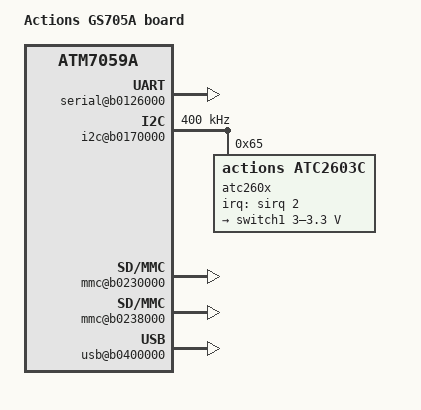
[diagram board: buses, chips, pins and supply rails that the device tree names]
/dts-v1/;

/include/ "actduino_probatch.dtsi"

/ {
	model = "Actions GS705A board";
	compatible = "actions,gs705a", "actions,atm7059a";

	/*default*/
	chosen {
		bootargs = "earlyprintk clk_ignore_unused selinux=0";
	};

	reserved {
		tiny {
			fb_heap_size = <4>;
			kinfo_heap_size = <1>;
			carveout_heap_size = <40>;
			dma_heap_size = <128>;
		};
		normal {
			fb_heap_size = <8>;
			kinfo_heap_size = <1>;
			carveout_heap_size = <244>;
			dma_heap_size = <128>;
		};
	};
    

	
	pinctrl@b01b0040 {
		pinctrl-names = "default";
		pinctrl-0 = <&state_default>;

		state_default: pinctrl_default {
		};

		serial0_state_default: serial0_default{
			serial_0{
				actions,groups = "mfp2_2_0","mfp3_21_19";
				actions,function = "uart0";
			};
		};

		serial1_state_default: serial1_default{
			serial_1{
				actions,groups = "mfp2_13_11";
				actions,function = "uart1";
			};
		};

		serial2_state_default: serial2_default{
			serial_2{
				actions,groups = "mfp2_23","mfp2_22","uart2_dummy";
				actions,function = "uart2";
			};
		};

		serial3_state_default: serial3_default{
			serial_3{
				actions,groups = "mfp2_21","mfp2_20","uart3_dummy";
				actions,function = "uart3";
			};
		};

		serial4_state_default: serial4_default{
			serial_4{
				actions,groups = "uart4_dummy";
				actions,function = "uart4";
			};
		};

		serial5_state_default: serial5_default{
			serial_5{
				actions,groups = "mfp2_19_17","mfp2_16_14";
				actions,function = "uart5";
			};
		};

		serial6_state_default: serial6_default{
			serial_6{
				actions,groups = "mfp0_18_16_eth_txd0", "mfp0_18_16_eth_txd1";
				actions,function = "uart6";
			};
		};

		mmc_share_uart_state: mmc_share_uart {
			sd0_mfp_cmd_clk {
				actions,groups = "mfp2_8_7", "mfp2_6_5";
				actions,function = "sd0";
			};

			sd0_pull_d0_d3_cmd {
				actions,pins = "P_SD0_CMD";
				actions,pull = <2>;
			};	
			
			sd0_pull_clk {
				actions,pins = "P_SD0_CLK";
				actions,pull = <0>;
			};
			
			sd0_d0_d3_cmd_clk_paddrv  {
				actions,groups  = "paddrv1_19_18","paddrv1_17_16";
				actions,paddrv  = <1>; /*level 1，范围0~3*/ 			
			};
		};
		
		mmc0_state_default: mmc0_default {
			sd0_mfp_d0_d3_cmd_clk {
				actions,groups = "mfp2_19_17", "mfp2_16_14", "mfp2_13_11", "mfp2_8_7", "mfp2_6_5";
				actions,function = "sd0";
			};

			sd0_pull_d0_d3_cmd {
				actions,pins = "P_SD0_D0", "P_SD0_D1", "P_SD0_D2", "P_SD0_D3", "P_SD0_CMD";
				actions,pull = <2>;
			};

			sd0_pull_clk {
				actions,pins = "P_SD0_CLK";
				actions,pull = <0>;
			};
			
			sd0_d0_d3_cmd_clk_paddrv  {
				actions,groups  = "paddrv1_23_22","paddrv1_19_18","paddrv1_17_16";
				actions,paddrv  = <3>; /*level 1，范围0~3*/ 			
			};
		};

		mmc1_state_default: mmc1_default {
			sd1_mfp_d0_d3_cmd_clk {
				actions,groups = "mfp2_10_9", "mfp2_4_3", "sd1_dummy";
				actions,function = "sd1";
			};

			sd1_pull_d0_d3_cmd {
				actions,pins = "P_SD1_D0", "P_SD1_D1", "P_SD1_D2", "P_SD1_D3", "P_SD1_CMD";
				actions,pull = <2>;
			};
			sd1_d0_d3_cmd_clk_paddrv  {
				actions,groups  = "paddrv1_21_20","paddrv1_15_14","paddrv1_13_12";
				actions,paddrv  = <2>; /*level 1，范围0~2*/ 			
			};
		};
	
		mmc2_state_default: mmc2_default {
			sd2_mfp_d0_d3_cmd_clk {
				actions,groups = "mfp3_3";
				actions,function = "sd2";
			};

			sd2_pull_d0_d3_cmd {
				actions,pins = "P_DNAND_D0","P_DNAND_D1","P_DNAND_D2","P_DNAND_D3","P_DNAND_D4","P_DNAND_D5","P_DNAND_D6","P_DNAND_D7","P_DNAND_RDBN";
				actions,pull = <2>;
			};

		};

		i2c0_state_default: i2c0_default {/* i2c0 use default pin	*/
			i2c0_default_mfp {
				actions,groups = "mfp3_18_16";
				actions,function = "i2c0";
			};

			i2c0_default_paddrv {
				actions,groups = "paddrv2_24_23";
				actions,paddrv = <0>;/*level 1*/
			};

			i2c0_default_pull_up {
				actions,pins = "P_I2C0_SCLK","P_I2C0_SDATA";
				actions,pull = <2>; /*pull up*/
			};
		};
	};

	serial@b0120000 {
		clock-frequency = <48000000>;
		pinctrl-names = "default";
		pinctrl-0 = <&serial0_state_default>;
		status = "disabled";
	};

	serial@b0122000 {
		clock-frequency = <48000000>;
		pinctrl-names = "default";
		pinctrl-0 = <&serial1_state_default>;
		status = "disabled";
	};

	serial@b0124000 {
		clock-frequency = <48000000>;
		pinctrl-names = "default";
		pinctrl-0 = <&serial2_state_default>;
		status = "disabled";
	};

	serial@b0126000 {
		clock-frequency = <48000000>;
		pinctrl-names = "default";
		pinctrl-0 = <&serial3_state_default>;
		status = "okay";
	};

	serial@b0128000 {
		clock-frequency = <48000000>;
		pinctrl-names = "default";
		pinctrl-0 = <&serial4_state_default>;
		status = "disabled";
	};

	serial@b012a000 {
		clock-frequency = <48000000>;
		pinctrl-names = "default";
		pinctrl-0 = <&serial5_state_default>;
		status = "disabled";
		sdio_uart_supported;
	};

	serial@b012c000 {
		clock-frequency = <48000000>;
		pinctrl-names = "default";
		pinctrl-0 = <&serial6_state_default>;
		status = "disabled";
	};

	i2c@b0170000 {
		i2c_num = <0>;
		clock-frequency = <400000>;
		status = "okay";
		pinctrl-names = "default";
		pinctrl-0 = <&i2c0_state_default>;
		#address-cells = <1>;
		#size-cells = <0>;	
		
		/* atc2603c (5307) */
		atc260x: atc2603c@65 {
			compatible = "actions,atc2603c";
			reg = <0x65>;
			interrupt-parent = <&sirq>;
			interrupts =< 2 0x4 >;
			interrupt-controller;
			#interrupt-cells = <1>;

			losc_32k_output_enable = <1>;    /* enable/disable output 32.768K clock via I2S_MCLK1 pin */
			losc_32k_output_voltage = <18>;  /* select voltage scale of the 32.768K clock output, 18:1.8v, 31:3.1v */

			pm {
				compatible = "actions,atc2603c-pm";	/* reboot shutdown use it */
			};

			switch1:switch1{
				compatible = "actions,atc2603c-switch1","actions,atc2603c-switch";
				regulator-name = "switch1";
				regulator-min-microvolt  = <3000000>;
				regulator-max-microvolt = <3300000>;
			};
		};
	};
	
	i2c@b0174000 {
		status = "disabled";
	};

	i2c@b0178000 {
		status = "disabled";
	};

	i2c@b017c000 {
		status = "disabled";
	};

	spi@b0200000 {
		status = "disabled";
	};

	spi@b0204000 {
		status = "disabled";
	};
	
	spi@b0208000 {
		status = "disabled";
	};

	spi@b020c000 {
		status = "disabled";
	};

	mmc@b0230000 {
		pinctrl-names = "default","share_uart2_5";
		pinctrl-0 = <&mmc0_state_default>;
		pinctrl-1 = <&mmc_share_uart_state>;

		card_type = "memory";  /* only: "memory", "wifi", or "emmc" */
		card_detect_mode = "gpio";  /* only: "sirq", "gpio", or "command" */
		card_detect_gpios = <&gpio 66 1>; /*86v S500 GPIOC2 */  
		interrupts = < 0 42 0x4 >;

		status = "okay";

		sd_vcc = "switch1";
	};

	mmc@b0234000 {
		status = "disabled";
	};

	mmc@b0238000 {
		pinctrl-names = "default";
		pinctrl-0 = <&mmc2_state_default>;
		card_type = "emmc";  /* only: "memory", "wifi", or "emmc" */
		status = "okay";
	};

	usb@b0400000 {
		usb_serialnumber_config = <1>; /* config serialnumber string format, 0: unified ascii; 1:unified unicode; 2:nounified unicode; 3: nounified ascii*/
		usb_hs_output_strength = <2>; /*defaut:2,range:0~7; 0:min,7:max;usb high speed(2.0)transmitter output strength*/
		status = "okay";
	};
};
